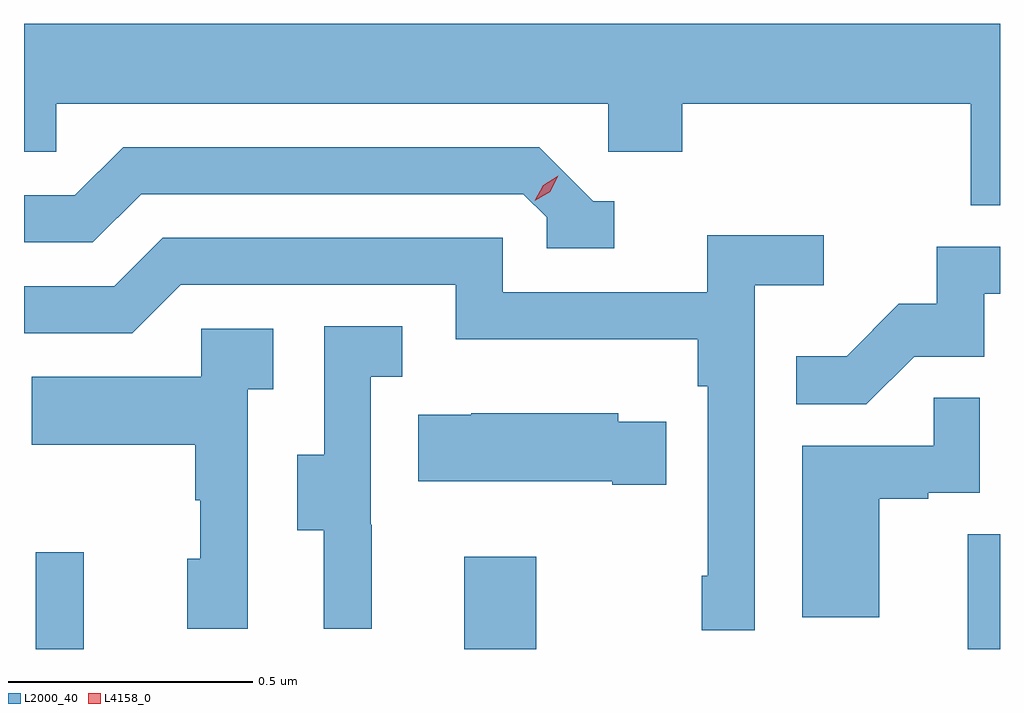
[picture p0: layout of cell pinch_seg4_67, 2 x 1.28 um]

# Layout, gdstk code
import gdstk
lib = gdstk.Library(unit=1e-6, precision=1e-09)
def R(c, l, rs):  # rectangles x0, y0, x1, y1
    for r in rs: c.add(gdstk.rectangle(r[:2], r[2:], *l))
def P(c, l, *ps):  # polygons
    for p in ps: c.add(gdstk.Polygon(p, *l))
L2000_40 = (2000, 40)
L4158_0 = (4158, 0)

pinch_seg4_67 = lib.new_cell('pinch_seg4_67')
R(pinch_seg4_67, L2000_40, [(1033.125,827.67,1033.223,827.869), (1034.003,827.67,1034.151,827.86), (1035.035,827.67,1035.101,827.906)])
P(pinch_seg4_67, L2000_40, [(1035.101,828.952),(1033.101,828.952),(1033.101,828.69),(1033.167,828.69),(1033.167,828.788),(1034.298,828.788),(1034.298,828.69),(1034.45,828.69),(1034.45,828.788),(1035.041,828.788),(1035.041,828.58),(1035.101,828.58)],
  [(1034.311,828.588),(1034.268,828.588),(1034.157,828.699),(1033.304,828.699),(1033.205,828.6),(1033.101,828.6),(1033.101,828.504),(1033.242,828.504),(1033.341,828.603),(1034.124,828.603),(1034.172,828.555),(1034.172,828.492),(1034.311,828.492)],
  [(1034.598,828.416),(1034.74,828.416),(1034.74,828.518),(1034.501,828.518),(1034.501,828.402),(1034.082,828.402),(1034.082,828.513),(1033.385,828.513),(1033.286,828.414),(1033.101,828.414),(1033.101,828.318),(1033.323,828.318),(1033.422,828.417),(1033.986,828.417),(1033.986,828.305),(1034.482,828.305),(1034.482,828.209),(1034.502,828.209),(1034.502,827.821),(1034.49,827.821),(1034.49,827.709),(1034.598,827.709)],
  [(1034.925,828.27),(1035.069,828.27),(1035.069,828.399),(1035.101,828.399),(1035.101,828.495),(1034.971,828.495),(1034.971,828.378),(1034.894,828.378),(1034.787,828.271),(1034.683,828.271),(1034.683,828.172),(1034.827,828.172)],
  [(1033.814,827.925),(1033.812,827.925),(1033.812,828.229),(1033.876,828.229),(1033.876,828.332),(1033.716,828.332),(1033.716,828.069),(1033.661,828.069),(1033.661,827.914),(1033.715,827.914),(1033.715,827.712),(1033.814,827.712)],
  [(1033.56,828.203),(1033.612,828.203),(1033.612,828.327),(1033.464,828.327),(1033.464,828.229),(1033.117,828.229),(1033.117,828.089),(1033.452,828.089),(1033.452,827.975),(1033.462,827.975),(1033.462,827.856),(1033.436,827.856),(1033.436,827.712),(1033.56,827.712)],
  [(1034.854,827.979),(1034.954,827.979),(1034.954,827.991),(1035.06,827.991),(1035.06,828.185),(1034.965,828.185),(1034.965,828.087),(1034.696,828.087),(1034.696,827.736),(1034.854,827.736)],
  [(1034.417,828.136),(1034.319,828.136),(1034.319,828.154),(1034.017,828.154),(1034.017,828.151),(1033.909,828.151),(1033.909,828.014),(1034.306,828.014),(1034.306,828.007),(1034.417,828.007)])
P(pinch_seg4_67, L4158_0, [(1034.148,828.589),(1034.148,828.589),(1034.165,828.621),(1034.196,828.64),(1034.196,828.64),(1034.196,828.64),(1034.179,828.608),(1034.148,828.589)])

lib.write_gds('pinch_seg4_67.gds')
